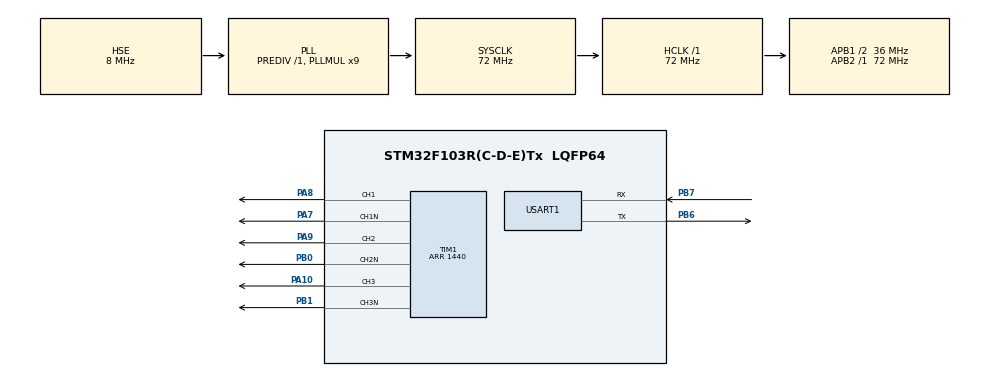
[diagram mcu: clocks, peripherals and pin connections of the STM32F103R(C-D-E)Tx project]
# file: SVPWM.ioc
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Mcu.Family=STM32F1
Mcu.Name=STM32F103R(C-D-E)Tx
Mcu.Package=LQFP64
NVIC.PriorityGroup=NVIC_PRIORITYGROUP_4
NVIC.TIM1_BRK_IRQn=true\:0\:0\:false\:false\:true\:true\:true\:true
NVIC.TIM1_CC_IRQn=true\:0\:0\:false\:false\:true\:true\:true\:true
NVIC.TIM1_TRG_COM_IRQn=true\:0\:0\:false\:false\:true\:true\:true\:true
NVIC.TIM1_UP_IRQn=true\:0\:0\:false\:false\:true\:true\:true\:true
NVIC.TIM2_IRQn=true\:0\:0\:false\:false\:true\:true\:true\:true
NVIC.USART1_IRQn=true\:0\:0\:false\:false\:true\:true\:true\:true
PA10.Signal=S_TIM1_CH3
PA13.Mode=Serial_Wire
PA13.Signal=SYS_JTMS-SWDIO
PA14.Mode=Serial_Wire
PA14.Signal=SYS_JTCK-SWCLK
PA7.Mode=PWM Generation1 CH1 CH1N
PA7.Signal=TIM1_CH1N
PA8.Signal=S_TIM1_CH1
PA9.Signal=S_TIM1_CH2
PB0.Mode=PWM Generation2 CH2 CH2N
PB0.Signal=TIM1_CH2N
PB1.Mode=PWM Generation3 CH3 CH3N
PB1.Signal=TIM1_CH3N
PB6.Mode=Asynchronous
PB6.Signal=USART1_TX
PB7.Mode=Asynchronous
PB7.Signal=USART1_RX
PC14-OSC32_IN.Mode=LSE-External-Oscillator
PC14-OSC32_IN.Signal=RCC_OSC32_IN
PC15-OSC32_OUT.Mode=LSE-External-Oscillator
PC15-OSC32_OUT.Signal=RCC_OSC32_OUT
PD0-OSC_IN.Mode=HSE-External-Oscillator
PD0-OSC_IN.Signal=RCC_OSC_IN
PD1-OSC_OUT.Mode=HSE-External-Oscillator
PD1-OSC_OUT.Signal=RCC_OSC_OUT
ProjectManager.HeapSize=0x200
ProjectManager.StackSize=0x400
ProjectManager.TargetToolchain=MDK-ARM V5.32
RCC.AHBFreq_Value=72000000
RCC.APB1CLKDivider=RCC_HCLK_DIV2
RCC.APB1Freq_Value=36000000
RCC.APB1TimFreq_Value=72000000
RCC.APB2Freq_Value=72000000
RCC.APB2TimFreq_Value=72000000
RCC.HCLKFreq_Value=72000000
RCC.PLLMUL=RCC_PLL_MUL9
RCC.PLLSourceVirtual=RCC_PLLSOURCE_HSE
RCC.SYSCLKFreq_VALUE=72000000
RCC.SYSCLKSource=RCC_SYSCLKSOURCE_PLLCLK
RCC.USBFreq_Value=72000000
SH.S_TIM1_CH1.0=TIM1_CH1,PWM Generation1 CH1 CH1N
SH.S_TIM1_CH2.0=TIM1_CH2,PWM Generation2 CH2 CH2N
SH.S_TIM1_CH3.0=TIM1_CH3,PWM Generation3 CH3 CH3N
TIM1.Channel-PWM\ Generation1\ CH1\ CH1N=TIM_CHANNEL_1
TIM1.Channel-PWM\ Generation2\ CH2\ CH2N=TIM_CHANNEL_2
TIM1.Channel-PWM\ Generation3\ CH3\ CH3N=TIM_CHANNEL_3
TIM1.CounterMode=TIM_COUNTERMODE_CENTERALIGNED1
TIM1.OCMode_PWM-PWM\ Generation1\ CH1\ CH1N=TIM_OCMODE_PWM2
TIM1.OCMode_PWM-PWM\ Generation2\ CH2\ CH2N=TIM_OCMODE_PWM2
TIM1.OCMode_PWM-PWM\ Generation3\ CH3\ CH3N=TIM_OCMODE_PWM2
TIM1.Period=1440
TIM2.Period=999
TIM2.Prescaler=71
USART1.VirtualMode=VM_ASYNC
VP_TIM1_VS_ClockSourceINT.Mode=Internal
VP_TIM2_VS_ClockSourceINT.Mode=Internal
board=custom

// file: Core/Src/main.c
/* USER CODE BEGIN Header */
/**
  ******************************************************************************
  * @file           : main.c
  * @brief          : Main program body
  ******************************************************************************
  * @attention
  *
  * Copyright (c) 2026 STMicroelectronics.
  * All rights reserved.
  *
  * This software is licensed under terms that can be found in the LICENSE file
  * in the root directory of this software component.
  * If no LICENSE file comes with this software, it is provided AS-IS.
  *
  ******************************************************************************
  */
/* USER CODE END Header */
#include "main.h"
#include "tim.h"
#include "usart.h"
#include "gpio.h"

/* USER CODE BEGIN Includes */
#include "AS5600.h"
#include "bsp_foc.h"
#include "bsp_tim.h"
/* USER CODE END Includes */

/* USER CODE BEGIN PTD */
#define _3PI_2   4.71238898038468985f
#define _PI      3.14159265358979323846f

float Zero_Angle;
extern float Speed;
extern float Uq;
extern float Ta,Tb,Tc;

/*
90° = π/2 ≈ 1.5708
180° = π ≈ 3.1416
270° = 3π/2 ≈ 4.7124
360° = 2π ≈ 6.2832
*/

float Angle_hope =  0;

float Angle, Angle_ele;

// 新增：当前锁定的档位
uint8_t current_gear ;

/* USER CODE END PTD */

/* USER CODE BEGIN PD */
/* 零电角标定 */
void Zero_Get(void)
{
    float Elec_Angle;
    for (int i = 0; i <= 500; i++)
    {
        Elec_Angle = _3PI_2 + _2PI * i / 500.0f;
        setPhaseVoltage_FOC2(3.0f, 0.0f, Elec_Angle);
        nop_delay_us(300);
    }

    for (int i = 500; i >= 0; i--)
    {
        Elec_Angle = _3PI_2 + _2PI * i / 500.0f;
        setPhaseVoltage_FOC2(3.0f, 0.0f, Elec_Angle);
        nop_delay_us(300);
    }

    Zero_Angle = GetAngle() * 7;
}

/* USER CODE END PD */

void SystemClock_Config(void);
extern  uint16_t Sector;

int main(void)
{

  /* MCU Configuration--------------------------------------------------------*/

  /* Reset of all peripherals, Initializes the Flash interface and the Systick. */
  HAL_Init();

  /* Configure the system clock */
  SystemClock_Config();

  /* Initialize all configured peripherals */
  MX_GPIO_Init();
  MX_TIM1_Init();
  MX_TIM2_Init();
  MX_USART1_UART_Init();
  /* USER CODE BEGIN 2 */
  AS5600_Init();

  FOC_PWM_Start();

  Zero_Get();
  Knob_Init();
  /* USER CODE END 2 */
 //float a;
  /* Infinite loop */
  /* USER CODE BEGIN WHILE */
  while (1)
  {

   //setPhaseVoltage_FOC2(1,0,a+=0.1);

     //  获取当前角度和档位
      Angle = GetAngle();   // 获取磁编码器当前角度（弧度）
     // 计算当前锁定的档位（0-7）
      current_gear = (uint8_t)(Calculate_Target_Detent(Angle) / (_2PI/GEAR_NUM));

  //   printf("%d\r\n",Sector);

    /* USER CODE END WHILE */

  }
}

void SystemClock_Config(void)
{
  RCC_OscInitTypeDef RCC_OscInitStruct = {0};
  RCC_ClkInitTypeDef RCC_ClkInitStruct = {0};

  /** Initializes the RCC Oscillators according to the specified parameters
  * in the RCC_OscInitTypeDef structure.
  */
  RCC_OscInitStruct.OscillatorType = RCC_OSCILLATORTYPE_HSE;
  RCC_OscInitStruct.HSEState = RCC_HSE_ON;
  RCC_OscInitStruct.HSEPredivValue = RCC_HSE_PREDIV_DIV1;
  RCC_OscInitStruct.HSIState = RCC_HSI_ON;
  RCC_OscInitStruct.PLL.PLLState = RCC_PLL_ON;
  RCC_OscInitStruct.PLL.PLLSource = RCC_PLLSOURCE_HSE;
  RCC_OscInitStruct.PLL.PLLMUL = RCC_PLL_MUL9;
  if (HAL_RCC_OscConfig(&RCC_OscInitStruct) != HAL_OK)
  {
    Error_Handler();
  }

  /** Initializes the CPU, AHB and APB buses clocks
  */
  RCC_ClkInitStruct.ClockType = RCC_CLOCKTYPE_HCLK|RCC_CLOCKTYPE_SYSCLK
                              |RCC_CLOCKTYPE_PCLK1|RCC_CLOCKTYPE_PCLK2;
  RCC_ClkInitStruct.SYSCLKSource = RCC_SYSCLKSOURCE_PLLCLK;
  RCC_ClkInitStruct.AHBCLKDivider = RCC_SYSCLK_DIV1;
  RCC_ClkInitStruct.APB1CLKDivider = RCC_HCLK_DIV2;
  RCC_ClkInitStruct.APB2CLKDivider = RCC_HCLK_DIV1;

  if (HAL_RCC_ClockConfig(&RCC_ClkInitStruct, FLASH_LATENCY_2) != HAL_OK)
  {
    Error_Handler();
  }
}

void Error_Handler(void)
{
  __disable_irq();
  while (1)
  {
  }
}
